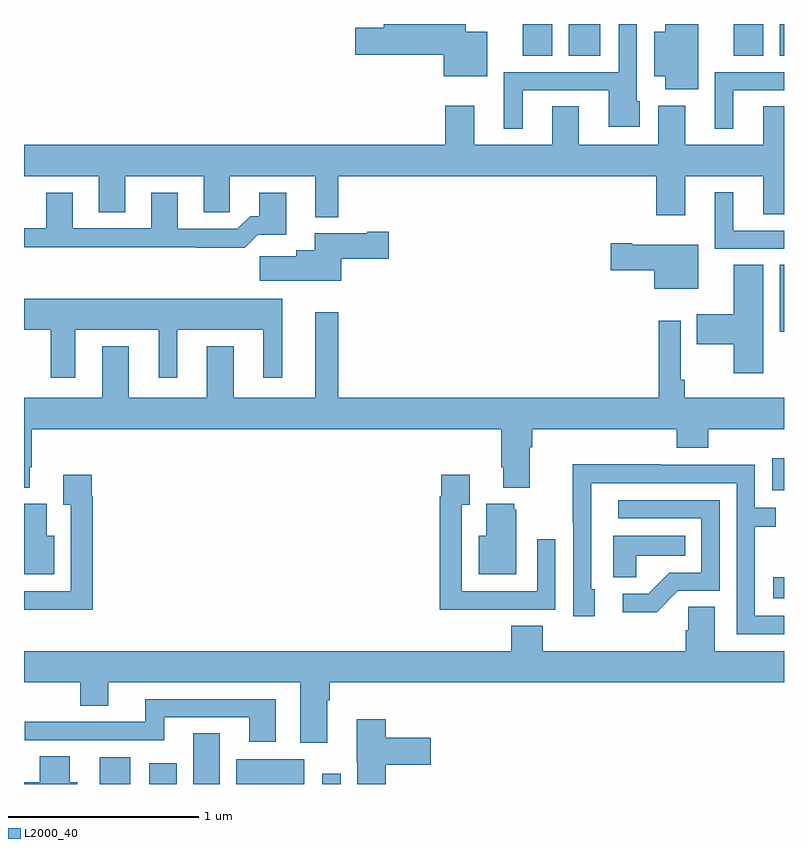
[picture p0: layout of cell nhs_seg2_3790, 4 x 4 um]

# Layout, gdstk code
import gdstk
lib = gdstk.Library(unit=1e-6, precision=1e-09)
def R(c, l, rs):  # rectangles x0, y0, x1, y1
    for r in rs: c.add(gdstk.rectangle(r[:2], r[2:], *l))
def P(c, l, *ps):  # polygons
    for p in ps: c.add(gdstk.Polygon(p, *l))
L2000_40 = (2000, 40)

nhs_seg2_3790 = lib.new_cell('nhs_seg2_3790')
R(nhs_seg2_3790, L2000_40, [(311.399,613.8,311.56,613.942), (311.66,613.8,311.803,613.909), (311.891,613.8,312.031,614.066), (312.116,613.8,312.475,613.93), (312.57,613.8,312.666,613.855), (314.943,614.777,315,614.887), (314.937,615.345,315,615.514), (314.978,616.179,315,616.532), (313.625,617.632,313.78,617.8), (313.868,617.632,314.032,617.8), (314.735,617.632,314.89,617.8), (314.978,617.632,315,617.8)])
P(nhs_seg2_3790, L2000_40, [(314.548,617.8),(314.375,617.8),(314.375,617.758),(314.318,617.758),(314.318,617.525),(314.375,617.525),(314.375,617.456),(314.548,617.456)],
  [(313.438,617.758),(313.324,617.758),(313.324,617.8),(312.893,617.8),(312.893,617.78),(312.744,617.78),(312.744,617.638),(313.208,617.638),(313.208,617.525),(313.438,617.525)],
  [(313.624,617.451),(314.078,617.451),(314.078,617.258),(314.242,617.258),(314.242,617.394),(314.226,617.394),(314.226,617.8),(314.13,617.8),(314.13,617.547),(313.526,617.547),(313.526,617.25),(313.624,617.25)],
  [(314.734,617.451),(315,617.451),(315,617.547),(314.636,617.547),(314.636,617.25),(314.734,617.25)],
  [(312.655,617),(314.327,617),(314.327,616.794),(314.479,616.794),(314.479,617),(314.891,617),(314.891,616.798),(315,616.798),(315,617.366),(314.891,617.366),(314.891,617.164),(314.479,617.164),(314.479,617.371),(314.339,617.371),(314.339,617.164),(313.921,617.164),(313.921,617.366),(313.781,617.366),(313.781,617.164),(313.369,617.164),(313.369,617.371),(313.217,617.371),(313.217,617.164),(311,617.164),(311,617),(311.393,617),(311.393,616.81),(311.533,616.81),(311.533,617),(311.945,617),(311.945,616.81),(312.084,616.81),(312.084,617),(312.533,617),(312.533,616.784),(312.655,616.784)],
  [(315,616.713),(314.734,616.713),(314.734,616.915),(314.636,616.915),(314.636,616.617),(315,616.617)],
  [(312.23,616.691),(312.379,616.691),(312.379,616.912),(312.239,616.912),(312.239,616.789),(312.19,616.789),(312.123,616.722),(311.809,616.722),(311.809,616.912),(311.669,616.912),(311.669,616.725),(311.257,616.725),(311.257,616.912),(311.117,616.912),(311.117,616.725),(311,616.725),(311,616.624),(311.905,616.624),(311.905,616.622),(312.161,616.622)],
  [(312.67,616.565),(312.919,616.565),(312.919,616.707),(312.806,616.707),(312.806,616.699),(312.53,616.699),(312.53,616.609),(312.434,616.609),(312.434,616.577),(312.24,616.577),(312.24,616.448),(312.67,616.448)],
  [(314.548,616.639),(314.2,616.639),(314.2,616.647),(314.088,616.647),(314.088,616.505),(314.318,616.505),(314.318,616.406),(314.548,616.406)],
  [(314.89,616.532),(314.735,616.532),(314.735,616.273),(314.542,616.273),(314.542,616.115),(314.735,616.115),(314.735,615.963),(314.89,615.963)],
  [(311.269,616.19),(311.708,616.19),(311.708,615.939),(311.806,615.939),(311.806,616.19),(312.26,616.19),(312.26,615.939),(312.358,615.939),(312.358,616.354),(311,616.354),(311,616.19),(311.141,616.19),(311.141,615.939),(311.269,615.939)],
  [(311.029,615.466),(311.042,615.466),(311.042,615.668),(313.511,615.668),(313.511,615.466),(313.523,615.466),(313.523,615.359),(313.663,615.359),(313.663,615.572),(313.676,615.572),(313.676,615.668),(314.435,615.668),(314.435,615.569),(314.6,615.569),(314.6,615.668),(315,615.668),(315,615.832),(314.477,615.832),(314.477,615.928),(314.457,615.928),(314.457,616.237),(314.341,616.237),(314.341,615.832),(312.655,615.832),(312.655,616.282),(312.533,616.282),(312.533,615.832),(312.103,615.832),(312.103,616.105),(311.963,616.105),(311.963,615.832),(311.551,615.832),(311.551,616.105),(311.411,616.105),(311.411,615.832),(311,615.832),(311,615.359),(311.029,615.359)],
  [(315,614.685),(314.847,614.685),(314.847,615.154),(314.957,615.154),(314.957,615.255),(314.847,615.255),(314.847,615.48),(314.351,615.48),(314.351,615.482),(313.888,615.482),(313.888,615.175),(313.89,615.175),(313.89,614.682),(314.005,614.682),(314.005,614.826),(313.986,614.826),(313.986,615.384),(314.751,615.384),(314.751,614.589),(315,614.589)],
  [(311.363,615.314),(311.356,615.314),(311.356,615.427),(311.207,615.427),(311.207,615.271),(311.247,615.271),(311.247,614.814),(311,614.814),(311,614.718),(311.071,614.718),(311.071,614.717),(311.363,614.717)],
  [(313.481,614.718),(313.797,614.718),(313.797,615.088),(313.701,615.088),(313.701,614.814),(313.305,614.814),(313.305,615.271),(313.345,615.271),(313.345,615.427),(313.197,615.427),(313.197,615.314),(313.189,615.314),(313.189,614.717),(313.481,614.717)],
  [(314.442,614.817),(314.661,614.817),(314.661,615.294),(314.127,615.294),(314.127,615.198),(314.565,615.198),(314.565,614.913),(314.396,614.913),(314.285,614.802),(314.151,614.802),(314.151,614.705),(314.329,614.705)],
  [(311.158,615.106),(311.119,615.106),(311.119,615.274),(311,615.274),(311,614.903),(311.158,614.903)],
  [(313.591,615.243),(313.58,615.243),(313.58,615.274),(313.433,615.274),(313.433,615.106),(313.394,615.106),(313.394,614.903),(313.591,614.903)],
  [(314.223,615.002),(314.48,615.002),(314.48,615.106),(314.102,615.106),(314.102,614.887),(314.223,614.887)],
  [(312.595,614.24),(312.608,614.24),(312.608,614.336),(315,614.336),(315,614.5),(314.635,614.5),(314.635,614.732),(314.496,614.732),(314.496,614.609),(314.483,614.609),(314.483,614.5),(313.73,614.5),(313.73,614.633),(313.565,614.633),(313.565,614.5),(311,614.5),(311,614.336),(311.296,614.336),(311.296,614.212),(311.443,614.212),(311.443,614.336),(312.455,614.336),(312.455,614.016),(312.595,614.016)],
  [(312.325,614.247),(311.639,614.247),(311.639,614.127),(311.005,614.127),(311.005,614.031),(311.737,614.031),(311.737,614.151),(312.185,614.151),(312.185,614.022),(312.325,614.022)],
  [(312.905,613.901),(313.141,613.901),(313.141,614.043),(312.905,614.043),(312.905,614.14),(312.752,614.14),(312.752,613.917),(312.755,613.917),(312.755,613.8),(312.905,613.8)],
  [(311.281,613.81),(311.242,613.81),(311.242,613.946),(311.084,613.946),(311.084,613.81),(311,613.81),(311,613.8),(311.281,613.8)])

lib.write_gds('nhs_seg2_3790.gds')
